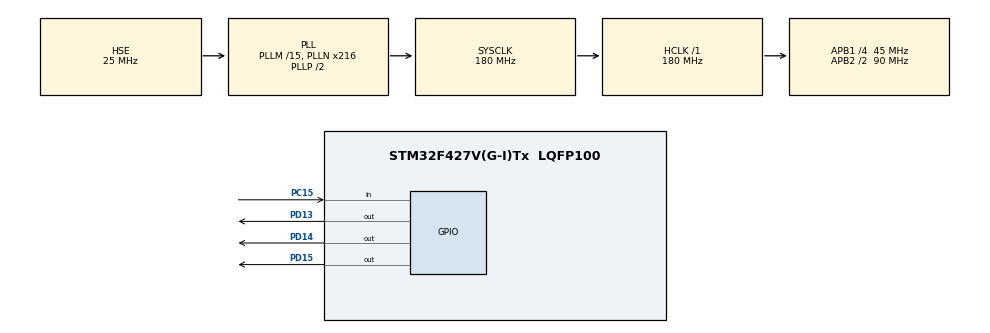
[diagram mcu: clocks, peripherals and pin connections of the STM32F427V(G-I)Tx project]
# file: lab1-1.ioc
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Mcu.Family=STM32F4
Mcu.Name=STM32F427V(G-I)Tx
Mcu.Package=LQFP100
NVIC.PriorityGroup=NVIC_PRIORITYGROUP_4
PA13.Mode=JTAG_5_pins
PA13.Signal=SYS_JTMS-SWDIO
PA14.Mode=JTAG_5_pins
PA14.Signal=SYS_JTCK-SWCLK
PA15.Mode=JTAG_5_pins
PA15.Signal=SYS_JTDI
PB3.Mode=JTAG_5_pins
PB3.Signal=SYS_JTDO-SWO
PB4.Mode=JTAG_5_pins
PB4.Signal=SYS_JTRST
PC15/OSC32_OUT.Signal=GPIO_Input
PD13.Signal=GPIO_Output
PD14.Signal=GPIO_Output
PD15.Signal=GPIO_Output
PH0/OSC_IN.Mode=HSE-External-Oscillator
PH0/OSC_IN.Signal=RCC_OSC_IN
PH1/OSC_OUT.Mode=HSE-External-Oscillator
PH1/OSC_OUT.Signal=RCC_OSC_OUT
ProjectManager.HeapSize=0x200
ProjectManager.StackSize=0x400
ProjectManager.TargetToolchain=STM32CubeIDE
RCC.48MHZClocksFreq_Value=90000000
RCC.AHBFreq_Value=180000000
RCC.APB1CLKDivider=RCC_HCLK_DIV4
RCC.APB1Freq_Value=45000000
RCC.APB1TimFreq_Value=90000000
RCC.APB2CLKDivider=RCC_HCLK_DIV2
RCC.APB2Freq_Value=90000000
RCC.APB2TimFreq_Value=180000000
RCC.CortexFreq_Value=180000000
RCC.HCLKFreq_Value=180000000
RCC.HSE_VALUE=25000000
RCC.HSI_VALUE=16000000
RCC.LSE_VALUE=32768
RCC.PLLM=15
RCC.PLLN=216
RCC.PLLSourceVirtual=RCC_PLLSOURCE_HSE
RCC.SYSCLKFreq_VALUE=180000000
RCC.SYSCLKSource=RCC_SYSCLKSOURCE_PLLCLK
RCC.VCOOutputFreq_Value=360000000
board=custom

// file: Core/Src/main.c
/* USER CODE BEGIN Header */
/**
  ******************************************************************************
  * @file           : main.c
  * @brief          : Main program body
  ******************************************************************************
  * @attention
  *
  * <h2><center>&copy; Copyright (c) 2021 STMicroelectronics.
  * All rights reserved.</center></h2>
  *
  * This software component is licensed by ST under BSD 3-Clause license,
  * the "License"; You may not use this file except in compliance with the
  * License. You may obtain a copy of the License at:
  *                        opensource.org/licenses/BSD-3-Clause
  *
  ******************************************************************************
  */
/* USER CODE END Header */
#include "main.h"
#include "gpio.h"

/* USER CODE BEGIN PV */
enum LED_STATE {
	GREEN, RED, YELLOW
};
/* USER CODE END PV */

void SystemClock_Config(void);

void reset_leds(){
	turn_off_green();
	turn_off_red();
	turn_off_yellow();
}

void turn_on_green() {
	HAL_GPIO_WritePin(GPIOD, GPIO_PIN_13, GPIO_PIN_SET);
}

void turn_off_green() {
	HAL_GPIO_WritePin(GPIOD, GPIO_PIN_13, GPIO_PIN_RESET);
}

void turn_on_red() {
	HAL_GPIO_WritePin(GPIOD, GPIO_PIN_15, GPIO_PIN_SET);
}

void turn_off_red() {
	HAL_GPIO_WritePin(GPIOD, GPIO_PIN_15, GPIO_PIN_RESET);
}

void turn_on_yellow() {
	HAL_GPIO_WritePin(GPIOD, GPIO_PIN_14, GPIO_PIN_SET);
}

void turn_off_yellow() {
	HAL_GPIO_WritePin(GPIOD, GPIO_PIN_14, GPIO_PIN_RESET);
}

void turn_on_only_red() {
	turn_off_yellow();
	turn_off_green();
	turn_on_red();
}

void turn_on_only_green() {
	turn_off_red();
	turn_off_yellow();
	turn_on_green();
}

void turn_on_only_yellow() {
	turn_off_red();
	turn_on_yellow();
	turn_off_green();
}

int increase_mode(int mode)
{
	return (mode + 1) % 4;
}

int main(void)
{

  /* MCU Configuration--------------------------------------------------------*/

  /* Reset of all peripherals, Initializes the Flash interface and the Systick. */
  HAL_Init();

  /* Configure the system clock */
  SystemClock_Config();

  /* Initialize all configured peripherals */
  MX_GPIO_Init();
  /* USER CODE BEGIN 2 */
  int periods[] = {500, 200, 1500, 5000};
  	int sequence_sizes[] = {4, 3, 2, 2};
  	int sequence_last_ticks[] = {0, 0, 0, 0};
  	enum LED_STATE sequences[4][4] = {
  			{GREEN, RED, GREEN, YELLOW},
  			{GREEN, YELLOW, RED},
  			{GREEN, YELLOW},
  			{GREEN, RED}};

    uint16_t current_mode = 0;
    uint8_t was_pressed = 0;
	uint32_t current_tick = HAL_GetTick(), start_tick = HAL_GetTick(), sequence_tick = 0;
  /* USER CODE END 2 */

  /* Infinite loop */
  /* USER CODE BEGIN WHILE */
   GPIO_PinState btn_state;
   while (1)
     {
	   btn_state = HAL_GPIO_ReadPin(GPIOC, GPIO_PIN_15);
	   	  if (btn_state == GPIO_PIN_SET && was_pressed == 1) {
	   		  current_mode = (current_mode + 1) % 4;
	   		  was_pressed = 0;
	   	  }
       /* USER CODE END WHILE */
	   current_tick = HAL_GetTick();
	   		sequence_tick = (current_tick - start_tick + sequence_last_ticks[current_mode]);
	   		int step = (sequence_tick / periods[current_mode]) % sequence_sizes[current_mode];
	   		switch (sequences[current_mode][step]) {
	   		case GREEN:
	   			turn_on_only_green();
	   			break;
	   		case RED:
	   			turn_on_only_red();
	   			break;
	   		case YELLOW:
	   			turn_on_only_yellow();
	   			break;
	   		}

	  	  if (btn_state == GPIO_PIN_RESET && was_pressed == 0) {
	  		  was_pressed = 1;
	  	  }
  }
}

void SystemClock_Config(void)
{
  RCC_OscInitTypeDef RCC_OscInitStruct = {0};
  RCC_ClkInitTypeDef RCC_ClkInitStruct = {0};

  /** Configure the main internal regulator output voltage
  */
  __HAL_RCC_PWR_CLK_ENABLE();
  __HAL_PWR_VOLTAGESCALING_CONFIG(PWR_REGULATOR_VOLTAGE_SCALE1);
  /** Initializes the RCC Oscillators according to the specified parameters
  * in the RCC_OscInitTypeDef structure.
  */
  RCC_OscInitStruct.OscillatorType = RCC_OSCILLATORTYPE_HSE;
  RCC_OscInitStruct.HSEState = RCC_HSE_ON;
  RCC_OscInitStruct.PLL.PLLState = RCC_PLL_ON;
  RCC_OscInitStruct.PLL.PLLSource = RCC_PLLSOURCE_HSE;
  RCC_OscInitStruct.PLL.PLLM = 15;
  RCC_OscInitStruct.PLL.PLLN = 216;
  RCC_OscInitStruct.PLL.PLLP = RCC_PLLP_DIV2;
  RCC_OscInitStruct.PLL.PLLQ = 4;
  if (HAL_RCC_OscConfig(&RCC_OscInitStruct) != HAL_OK)
  {
    Error_Handler();
  }
  /** Activate the Over-Drive mode
  */
  if (HAL_PWREx_EnableOverDrive() != HAL_OK)
  {
    Error_Handler();
  }
  /** Initializes the CPU, AHB and APB buses clocks
  */
  RCC_ClkInitStruct.ClockType = RCC_CLOCKTYPE_HCLK|RCC_CLOCKTYPE_SYSCLK
                              |RCC_CLOCKTYPE_PCLK1|RCC_CLOCKTYPE_PCLK2;
  RCC_ClkInitStruct.SYSCLKSource = RCC_SYSCLKSOURCE_PLLCLK;
  RCC_ClkInitStruct.AHBCLKDivider = RCC_SYSCLK_DIV1;
  RCC_ClkInitStruct.APB1CLKDivider = RCC_HCLK_DIV4;
  RCC_ClkInitStruct.APB2CLKDivider = RCC_HCLK_DIV2;

  if (HAL_RCC_ClockConfig(&RCC_ClkInitStruct, FLASH_LATENCY_5) != HAL_OK)
  {
    Error_Handler();
  }
}

void Error_Handler(void)
{
  __disable_irq();
  while (1)
  {
  }
}

/************************ (C) COPYRIGHT STMicroelectronics *****END OF FILE****/
